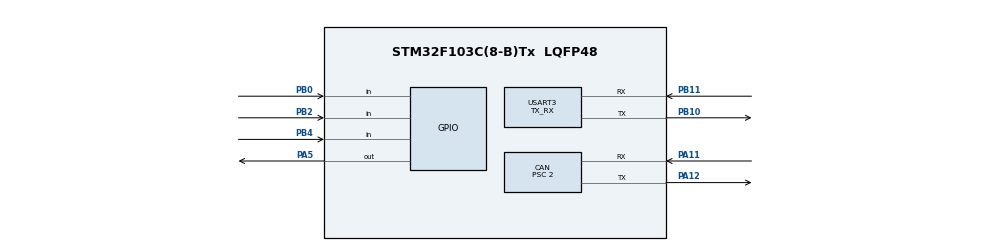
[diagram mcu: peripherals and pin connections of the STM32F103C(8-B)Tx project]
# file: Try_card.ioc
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Mcu.Family=STM32F1
NVIC.USART3_IRQn=true\:0\:0\:false\:false\:true\:true\:true
PB10.Mode=Asynchronous
PA11.Mode=Master
PB11.Signal=USART3_RX
CAN.CalculateTimeBit=4000.00
ProjectManager.StackSize=0x400
PA13.Signal=SYS_JTMS-SWDIO
PA12.Signal=CAN_TX
CAN.BS2=CAN_BS2_2TQ
CAN.Prescaler=2
CAN.BS1=CAN_BS1_13TQ
PB11.Mode=Asynchronous
ProjectManager.TargetToolchain=STM32CubeIDE
PB10.Signal=USART3_TX
PA5.Signal=GPIO_Output
PB2.Signal=GPIO_Input
board=custom
RCC.APB2Freq_Value=8000000
VP_TIM2_VS_ClockSourceINT.Mode=Internal
PA14.Mode=Serial_Wire
PA5.GPIO_PuPd=GPIO_PULLDOWN
NVIC.TIM2_IRQn=true\:0\:0\:false\:false\:true\:true\:true
TIM2.Period=1000
PA13.Mode=Serial_Wire
Mcu.Name=STM32F103C(8-B)Tx
CAN.CalculateTimeQuantum=250.0
PB2.GPIO_PuPd=GPIO_PULLDOWN
Mcu.Package=LQFP48
TIM2.Prescaler=8
USART3.Mode=MODE_TX_RX
PA12.Mode=Master
USART3.VirtualMode=VM_ASYNC
PA11.Signal=CAN_RX
PA14.Signal=SYS_JTCK-SWCLK
ProjectManager.HeapSize=0x200
NVIC.PriorityGroup=NVIC_PRIORITYGROUP_4
RCC.APB1Freq_Value=8000000
PB0.Signal=GPIO_Input
PB4.Signal=GPIO_Input

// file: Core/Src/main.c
/* USER CODE BEGIN Header */
/**
  ******************************************************************************
  * @file           : main.c
  * @brief          : Main program body
  ******************************************************************************
  * @attention
  *
  * <h2><center>&copy; Copyright (c) 2021 STMicroelectronics.
  * All rights reserved.</center></h2>
  *
  * This software component is licensed by ST under BSD 3-Clause license,
  * the "License"; You may not use this file except in compliance with the
  * License. You may obtain a copy of the License at:
  *                        opensource.org/licenses/BSD-3-Clause
  *
  ******************************************************************************
  */
/* USER CODE END Header */
#include "main.h"

/* USER CODE BEGIN PD */
#define CARD_B_CAN_ID 0x0A
#define CARD_B_CAN_DLC 2

/* USER CODE END PD */

CAN_HandleTypeDef hcan;

TIM_HandleTypeDef htim2;

UART_HandleTypeDef huart3;

/* USER CODE BEGIN PV */
uint32_t mail_data_card_back = 0;
CAN_FilterTypeDef sFilterConfig;
CAN_TxHeaderTypeDef tx_header_card_back;
uint8_t send_CAN_frame;
/* USER CODE END PV */

void SystemClock_Config(void);
static void MX_GPIO_Init(void);
static void MX_USART3_UART_Init(void);
static void MX_TIM2_Init(void);
static void MX_CAN_Init(void);
/* USER CODE BEGIN PFP */
void My_CAN_init(void);

	uint8_t q = 0;
	uint8_t flag =0;
	static uint16_t c_count=0;
	uint16_t cnt = 0;

	void HAL_TIM_PeriodElapsedCallback(TIM_HandleTypeDef *htim) {
		uint8_t data_send[8];
			uint8_t size =0;

		if(htim->Instance == htim2.Instance)
		{
			cnt++;
			if(HAL_GPIO_ReadPin(GPIOB, GPIO_PIN_2) == 0 && flag == 0 )
			{
					c_count++;
					flag = 1;
			}
			else if(HAL_GPIO_ReadPin(GPIOB, GPIO_PIN_2)  == 1)
			{
				flag = 0;
			}
			if(cnt%10==0)
			{
				  if (HAL_CAN_AddTxMessage(&hcan, &tx_header_card_back, data_send, &mail_data_card_back) != HAL_OK){
							//ERROR
					  }
				 while(HAL_CAN_IsTxMessagePending(&hcan, mail_data_card_back));
			}
			if(cnt == 1000)
			{
				size = sprintf(data_send, "imp/sek: %d  \n\r", c_count);

				cnt = 0;
				c_count = 0;
				HAL_UART_Transmit_IT(&huart3, data_send, size);

			}
		}

	}

/* USER CODE END PFP */

int main(void)
{

  /* MCU Configuration--------------------------------------------------------*/

  /* Reset of all peripherals, Initializes the Flash interface and the Systick. */
  HAL_Init();

  /* Configure the system clock */
  SystemClock_Config();

  /* Initialize all configured peripherals */
  MX_GPIO_Init();
  MX_USART3_UART_Init();
  MX_TIM2_Init();
  MX_CAN_Init();
  /* USER CODE BEGIN 2 */
  My_CAN_init();

  CAN_TxHeaderTypeDef tx_header_card_back;
  	tx_header_card_back.StdId  = CARD_B_CAN_ID;
    tx_header_card_back.RTR = CAN_RTR_DATA;
    tx_header_card_back.IDE = CAN_ID_STD;
    tx_header_card_back.DLC = CARD_B_CAN_DLC;
    tx_header_card_back.TransmitGlobalTime = DISABLE;

  HAL_TIM_Base_Start_IT(&htim2);

  /* USER CODE END 2 */

  /* Infinite loop */
  /* USER CODE BEGIN WHILE */
  while (1)
  {
	  q = HAL_GPIO_ReadPin(GPIOB, GPIO_PIN_4);

    /* USER CODE END WHILE */

  }
}

void SystemClock_Config(void)
{
  RCC_OscInitTypeDef RCC_OscInitStruct = {0};
  RCC_ClkInitTypeDef RCC_ClkInitStruct = {0};

  /** Initializes the RCC Oscillators according to the specified parameters
  * in the RCC_OscInitTypeDef structure.
  */
  RCC_OscInitStruct.OscillatorType = RCC_OSCILLATORTYPE_HSI;
  RCC_OscInitStruct.HSIState = RCC_HSI_ON;
  RCC_OscInitStruct.HSICalibrationValue = RCC_HSICALIBRATION_DEFAULT;
  RCC_OscInitStruct.PLL.PLLState = RCC_PLL_NONE;
  if (HAL_RCC_OscConfig(&RCC_OscInitStruct) != HAL_OK)
  {
    Error_Handler();
  }
  /** Initializes the CPU, AHB and APB buses clocks
  */
  RCC_ClkInitStruct.ClockType = RCC_CLOCKTYPE_HCLK|RCC_CLOCKTYPE_SYSCLK
                              |RCC_CLOCKTYPE_PCLK1|RCC_CLOCKTYPE_PCLK2;
  RCC_ClkInitStruct.SYSCLKSource = RCC_SYSCLKSOURCE_HSI;
  RCC_ClkInitStruct.AHBCLKDivider = RCC_SYSCLK_DIV1;
  RCC_ClkInitStruct.APB1CLKDivider = RCC_HCLK_DIV1;
  RCC_ClkInitStruct.APB2CLKDivider = RCC_HCLK_DIV1;

  if (HAL_RCC_ClockConfig(&RCC_ClkInitStruct, FLASH_LATENCY_0) != HAL_OK)
  {
    Error_Handler();
  }
}

static void MX_CAN_Init(void)
{

  hcan.Instance = CAN1;
  hcan.Init.Prescaler = 2;
  hcan.Init.Mode = CAN_MODE_NORMAL;
  hcan.Init.SyncJumpWidth = CAN_SJW_1TQ;
  hcan.Init.TimeSeg1 = CAN_BS1_13TQ;
  hcan.Init.TimeSeg2 = CAN_BS2_2TQ;
  hcan.Init.TimeTriggeredMode = DISABLE;
  hcan.Init.AutoBusOff = DISABLE;
  hcan.Init.AutoWakeUp = DISABLE;
  hcan.Init.AutoRetransmission = DISABLE;
  hcan.Init.ReceiveFifoLocked = DISABLE;
  hcan.Init.TransmitFifoPriority = DISABLE;
  if (HAL_CAN_Init(&hcan) != HAL_OK)
  {
    Error_Handler();
  }

}

static void MX_TIM2_Init(void)
{

  TIM_ClockConfigTypeDef sClockSourceConfig = {0};
  TIM_MasterConfigTypeDef sMasterConfig = {0};

  htim2.Instance = TIM2;
  htim2.Init.Prescaler = 8;
  htim2.Init.CounterMode = TIM_COUNTERMODE_UP;
  htim2.Init.Period = 1000;
  htim2.Init.ClockDivision = TIM_CLOCKDIVISION_DIV1;
  htim2.Init.AutoReloadPreload = TIM_AUTORELOAD_PRELOAD_DISABLE;
  if (HAL_TIM_Base_Init(&htim2) != HAL_OK)
  {
    Error_Handler();
  }
  sClockSourceConfig.ClockSource = TIM_CLOCKSOURCE_INTERNAL;
  if (HAL_TIM_ConfigClockSource(&htim2, &sClockSourceConfig) != HAL_OK)
  {
    Error_Handler();
  }
  sMasterConfig.MasterOutputTrigger = TIM_TRGO_RESET;
  sMasterConfig.MasterSlaveMode = TIM_MASTERSLAVEMODE_DISABLE;
  if (HAL_TIMEx_MasterConfigSynchronization(&htim2, &sMasterConfig) != HAL_OK)
  {
    Error_Handler();
  }

}

static void MX_USART3_UART_Init(void)
{

  huart3.Instance = USART3;
  huart3.Init.BaudRate = 115200;
  huart3.Init.WordLength = UART_WORDLENGTH_8B;
  huart3.Init.StopBits = UART_STOPBITS_1;
  huart3.Init.Parity = UART_PARITY_NONE;
  huart3.Init.Mode = UART_MODE_TX_RX;
  huart3.Init.HwFlowCtl = UART_HWCONTROL_NONE;
  huart3.Init.OverSampling = UART_OVERSAMPLING_16;
  if (HAL_UART_Init(&huart3) != HAL_OK)
  {
    Error_Handler();
  }

}

static void MX_GPIO_Init(void)
{
  GPIO_InitTypeDef GPIO_InitStruct = {0};

  /* GPIO Ports Clock Enable */
  __HAL_RCC_GPIOA_CLK_ENABLE();
  __HAL_RCC_GPIOB_CLK_ENABLE();

  /*Configure GPIO pin Output Level */
  HAL_GPIO_WritePin(GPIOA, GPIO_PIN_5, GPIO_PIN_RESET);

  /*Configure GPIO pin : PA5 */
  GPIO_InitStruct.Pin = GPIO_PIN_5;
  GPIO_InitStruct.Mode = GPIO_MODE_OUTPUT_PP;
  GPIO_InitStruct.Pull = GPIO_PULLDOWN;
  GPIO_InitStruct.Speed = GPIO_SPEED_FREQ_LOW;
  HAL_GPIO_Init(GPIOA, &GPIO_InitStruct);

  /*Configure GPIO pins : PB0 PB4 */
  GPIO_InitStruct.Pin = GPIO_PIN_0|GPIO_PIN_4;
  GPIO_InitStruct.Mode = GPIO_MODE_INPUT;
  GPIO_InitStruct.Pull = GPIO_NOPULL;
  HAL_GPIO_Init(GPIOB, &GPIO_InitStruct);

  /*Configure GPIO pin : PB2 */
  GPIO_InitStruct.Pin = GPIO_PIN_2;
  GPIO_InitStruct.Mode = GPIO_MODE_INPUT;
  GPIO_InitStruct.Pull = GPIO_PULLDOWN;
  HAL_GPIO_Init(GPIOB, &GPIO_InitStruct);

}

/* USER CODE BEGIN 4 */
void My_CAN_init(void){
	sFilterConfig.FilterBank = 0;
	sFilterConfig.FilterMode = CAN_FILTERMODE_IDMASK;
	sFilterConfig.FilterScale = CAN_FILTERSCALE_32BIT;
	sFilterConfig.FilterIdHigh = 0x0000;
	sFilterConfig.FilterIdLow = 0x0000;
	sFilterConfig.FilterMaskIdHigh = 0x0000;
	sFilterConfig.FilterMaskIdLow = 0x0000;
	sFilterConfig.FilterFIFOAssignment = CAN_RX_FIFO0;
	sFilterConfig.FilterActivation = ENABLE;
	sFilterConfig.SlaveStartFilterBank = 14;

	if (HAL_CAN_ConfigFilter(&hcan, &sFilterConfig) != HAL_OK)
	{
		Error_Handler();
	}

	if (HAL_CAN_Start(&hcan) != HAL_OK)
	{
		Error_Handler();
	}

	if (HAL_CAN_ActivateNotification(&hcan, CAN_IT_RX_FIFO0_MSG_PENDING | CAN_IT_TX_MAILBOX_EMPTY) != HAL_OK)
	{
		Error_Handler();
	}
}
/* USER CODE END 4 */

void Error_Handler(void)
{
}

/************************ (C) COPYRIGHT STMicroelectronics *****END OF FILE****/
